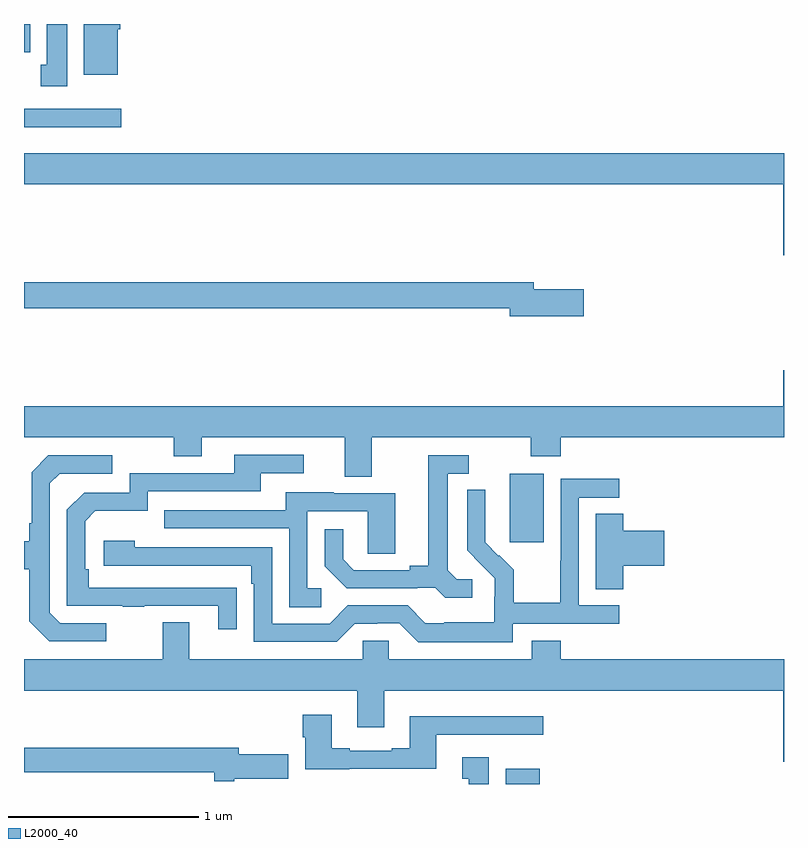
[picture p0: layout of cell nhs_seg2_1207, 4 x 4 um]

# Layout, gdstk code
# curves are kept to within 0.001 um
import gdstk
lib = gdstk.Library(unit=1e-6, precision=1e-09)
def R(c, l, rs):  # rectangles x0, y0, x1, y1
    for r in rs: c.add(gdstk.rectangle(r[:2], r[2:], *l))
def P(c, l, *ps):  # polygons
    for p in ps: c.add(gdstk.Polygon(p, *l))
L2000_40 = (2000, 40)

nhs_seg2_1207 = lib.new_cell('nhs_seg2_1207')
R(nhs_seg2_1207, L2000_40, [(175.535,657.8,175.714,657.88), (175.556,659.073,175.735,659.434), (173,661.256,173.512,661.353), (173,661.652,173.032,661.8)])
P(nhs_seg2_1207, L2000_40, [(173.227,661.8),(173.12,661.8),(173.12,661.586),(173.087,661.586),(173.087,661.473),(173.227,661.473)],
  [(173.494,661.772),(173.507,661.772),(173.507,661.8),(173.315,661.8),(173.315,661.532),(173.494,661.532)],
  [(177,661.12),(173,661.12),(173,660.956),(176.996,660.956),(176.996,660.582),(177,660.582)],
  [(175.945,660.404),(175.684,660.404),(175.684,660.44),(173,660.44),(173,660.304),(175.556,660.304),(175.556,660.262),(175.945,660.262)],
  [(174.829,659.624),(175.666,659.624),(175.666,659.525),(175.826,659.525),(175.826,659.624),(177,659.624),(177,659.977),(176.996,659.977),(176.996,659.788),(173,659.788),(173,659.624),(173.788,659.624),(173.788,659.525),(173.935,659.525),(173.935,659.624),(174.689,659.624),(174.689,659.416),(174.829,659.416)],
  [(174.119,658.832),(173.342,658.833),(173.342,658.93),(173.322,658.93),(173.322,659.184),(173.375,659.237),(173.652,659.237),(173.652,659.34),(174.247,659.34),(174.247,659.436),(174.472,659.436),(174.472,659.532),(174.107,659.532),(174.107,659.436),(173.556,659.436),(173.556,659.334),(173.316,659.334),(173.226,659.244),(173.226,658.737),(173.521,658.737),(173.521,658.732),(173.633,658.732),(173.633,658.737),(174.023,658.737),(174.023,658.614),(174.119,658.614)],
  [(175.36,658.878),(175.278,658.878),(175.231,658.925),(175.231,659.433),(175.342,659.433),(175.342,659.529),(175.127,659.529),(175.127,658.949),(175.031,658.949),(175.031,658.926),(174.736,658.926),(174.679,658.983),(174.679,659.14),(174.582,659.14),(174.582,658.946),(174.698,658.83),(175.07,658.83),(175.07,658.833),(175.164,658.833),(175.216,658.781),(175.36,658.781)],
  [(173.434,658.647),(173.19,658.647),(173.136,658.701),(173.136,659.382),(173.187,659.433),(173.464,659.433),(173.464,659.529),(173.127,659.529),(173.04,659.442),(173.04,659.173),(173.028,659.173),(173.028,659.077),(173,659.077),(173,658.93),(173.028,658.93),(173.028,658.657),(173.133,658.551),(173.434,658.551)],
  [(175.572,658.644),(176.134,658.644),(176.134,658.74),(175.92,658.74),(175.92,659.307),(176.134,659.307),(176.134,659.406),(175.824,659.406),(175.824,658.976),(175.822,658.976),(175.822,658.753),(175.577,658.753),(175.577,658.927),(175.5,659.004),(175.497,659.001),(175.427,659.072),(175.428,659.348),(175.332,659.348),(175.332,659.03),(175.478,658.882),(175.478,658.785),(175.476,658.785),(175.476,658.651),(175.213,658.651),(175.213,658.647),(175.113,658.647),(175.02,658.74),(174.705,658.74),(174.609,658.644),(174.306,658.644),(174.306,659.046),(173.582,659.046),(173.582,659.08),(173.421,659.08),(173.421,658.95),(174.197,658.95),(174.197,658.853),(174.21,658.853),(174.21,658.548),(174.645,658.548),(174.741,658.644),(174.86,658.644),(174.86,658.647),(174.975,658.647),(175.075,658.547),(175.572,658.547)],
  [(174.565,658.83),(174.492,658.83),(174.492,659.235),(174.81,659.235),(174.81,659.011),(174.955,659.011),(174.955,659.331),(174.631,659.331),(174.631,659.335),(174.377,659.335),(174.377,659.241),(173.737,659.241),(173.737,659.145),(174.396,659.145),(174.396,658.729),(174.565,658.729)],
  [(176.153,658.949),(176.371,658.949),(176.371,659.132),(176.153,659.132),(176.153,659.222),(176.009,659.222),(176.009,658.825),(176.153,658.825)],
  [(177,658.456),(175.826,658.456),(175.826,658.555),(175.673,658.555),(175.673,658.456),(174.921,658.456),(174.921,658.554),(174.783,658.554),(174.783,658.456),(173.869,658.456),(173.869,658.651),(173.729,658.651),(173.729,658.456),(173,658.456),(173,658.292),(174.755,658.292),(174.755,658.098),(174.895,658.098),(174.895,658.292),(176.996,658.292),(176.996,657.918),(177,657.918)],
  [(174.711,657.879),(175.171,657.879),(175.171,658.059),(175.732,658.059),(175.732,658.156),(175.031,658.156),(175.031,657.988),(174.935,657.988),(174.935,657.975),(174.715,657.975),(174.715,657.988),(174.619,657.988),(174.619,658.165),(174.467,658.165),(174.467,658.045),(174.479,658.045),(174.479,657.878),(174.711,657.878)],
  [(174.106,657.827),(174.391,657.827),(174.391,657.957),(174.13,657.957),(174.13,657.991),(173,657.991),(173,657.862),(174.002,657.862),(174.002,657.815),(174.106,657.815)],
  [(175.447,657.94),(175.307,657.94),(175.307,657.827),(175.34,657.827),(175.34,657.8),(175.447,657.8)])

lib.write_gds('nhs_seg2_1207.gds')
